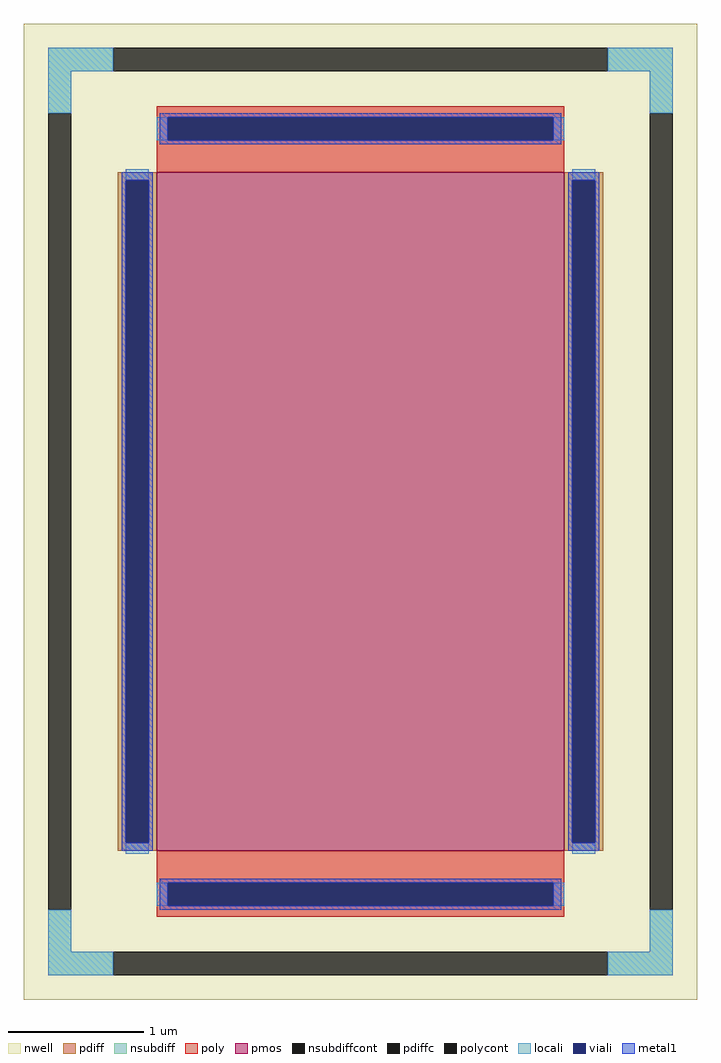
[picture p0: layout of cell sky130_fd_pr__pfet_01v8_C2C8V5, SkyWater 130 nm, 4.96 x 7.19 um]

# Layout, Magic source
magic
tech sky130A
magscale 1 2
<< nwell >>
rect -496 -719 496 719
<< pmos >>
rect -300 -500 300 500
<< pdiff >>
rect -358 488 -300 500
rect -358 -488 -346 488
rect -312 -488 -300 488
rect -358 -500 -300 -488
rect 300 488 358 500
rect 300 -488 312 488
rect 346 -488 358 488
rect 300 -500 358 -488
<< pdiffc >>
rect -346 -488 -312 488
rect 312 -488 346 488
<< nsubdiff >>
rect -460 649 -364 683
rect 364 649 460 683
rect -460 587 -426 649
rect 426 587 460 649
rect -460 -649 -426 -587
rect 426 -649 460 -587
rect -460 -683 -364 -649
rect 364 -683 460 -649
<< nsubdiffcont >>
rect -364 649 364 683
rect -460 -587 -426 587
rect 426 -587 460 587
rect -364 -683 364 -649
<< poly >>
rect -300 581 300 597
rect -300 547 -284 581
rect 284 547 300 581
rect -300 500 300 547
rect -300 -547 300 -500
rect -300 -581 -284 -547
rect 284 -581 300 -547
rect -300 -597 300 -581
<< polycont >>
rect -284 547 284 581
rect -284 -581 284 -547
<< locali >>
rect -460 649 -364 683
rect 364 649 460 683
rect -460 587 -426 649
rect 426 587 460 649
rect -300 547 -284 581
rect 284 547 300 581
rect -346 488 -312 504
rect -346 -504 -312 -488
rect 312 488 346 504
rect 312 -504 346 -488
rect -300 -581 -284 -547
rect 284 -581 300 -547
rect -460 -649 -426 -587
rect 426 -649 460 -587
rect -460 -683 -364 -649
rect 364 -683 460 -649
<< viali >>
rect -284 547 284 581
rect -346 -488 -312 488
rect 312 -488 346 488
rect -284 -581 284 -547
<< metal1 >>
rect -296 581 296 587
rect -296 547 -284 581
rect 284 547 296 581
rect -296 541 296 547
rect -352 488 -306 500
rect -352 -488 -346 488
rect -312 -488 -306 488
rect -352 -500 -306 -488
rect 306 488 352 500
rect 306 -488 312 488
rect 346 -488 352 488
rect 306 -500 352 -488
rect -296 -547 296 -541
rect -296 -581 -284 -547
rect 284 -581 296 -547
rect -296 -587 296 -581
<< properties >>
string FIXED_BBOX -443 -666 443 666
string gencell sky130_fd_pr__pfet_01v8
string library sky130
string parameters w 5.0 l 3.0 m 1 nf 1 diffcov 100 polycov 100 guard 1 glc 1 grc 1 gtc 1 gbc 1 tbcov 100 rlcov 100 topc 1 botc 1 poverlap 0 doverlap 1 lmin 0.15 wmin 0.42 compatible {sky130_fd_pr__pfet_01v8  sky130_fd_pr__pfet_01v8_lvt sky130_fd_pr__pfet_01v8_hvt  sky130_fd_pr__pfet_g5v0d10v5} full_metal 1 viasrc 100 viadrn 100 viagate 100 viagb 0 viagr 0 viagl 0 viagt 0
<< end >>
